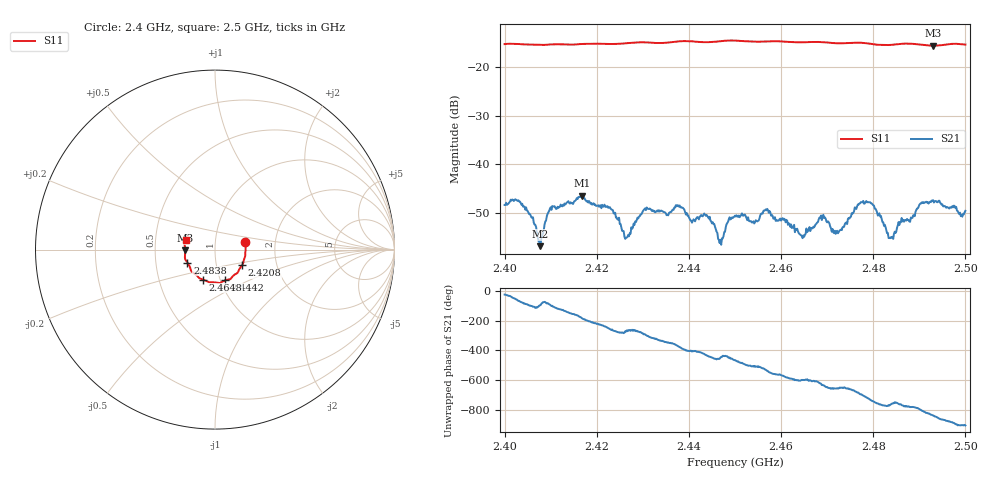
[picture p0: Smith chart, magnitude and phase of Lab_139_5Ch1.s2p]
# Hz S RI R 50
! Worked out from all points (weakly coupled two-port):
!   601 points, 2.4 GHz to 2.5 GHz, reference 50 ohm
!   highest |S21| = -46.42 dB at 2.4168 GHz (marker M1); lowest = -56.8 dB at 2.4077 GHz (marker M2)
!   lowest |S11| = -15.6 dB at 2.493 GHz (marker M3), VSWR 1.40, Z = 35.8 - j0.215 ohm
!   |S11| at or under -10 dB: start of sweep to end of sweep
!   S12 and S22 are empty: the file has one direction only
!   S11 on the Smith chart (normalised r, x): 2.4 GHz: 1.40, +0.12; 2.4208 GHz: 1.33, -0.24; 2.4442 GHz: 1.05, -0.37; 2.4648 GHz: 0.83, -0.29; 2.4838 GHz: 0.73, -0.11; 2.5 GHz: 0.72, +0.08
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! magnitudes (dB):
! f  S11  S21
! 2.4 GHz  -15.3  -48.3
! 2.4033 GHz  -15.3  -47.6
! 2.4077 GHz  -15.4  -56.8
! 2.4102 GHz  -15.3  -49.3
! 2.4167 GHz  -15.2  -46.7
! 2.4168 GHz  -15.2  -46.4
! 2.4208 GHz  -15.2  -48.4
! 2.4265 GHz  -15.1  -55.0
! 2.4305 GHz  -14.9  -49.0
! 2.4333 GHz  -15.0  -49.7
! 2.4442 GHz  -14.9  -50.9
! 2.4468 GHz  -14.7  -55.5
! 2.45 GHz  -14.5  -50.5
! 2.457 GHz  -14.7  -49.1
! 2.4648 GHz  -14.9  -54.6
! 2.4667 GHz  -14.8  -53.0
! 2.4723 GHz  -15.1  -54.1
! 2.4788 GHz  -15.1  -47.7
! 2.4833 GHz  -15.5  -55.1
! 2.4838 GHz  -15.4  -55.0
! 2.493 GHz  -15.6  -47.3
! 2.5 GHz  -15.3  -49.5
